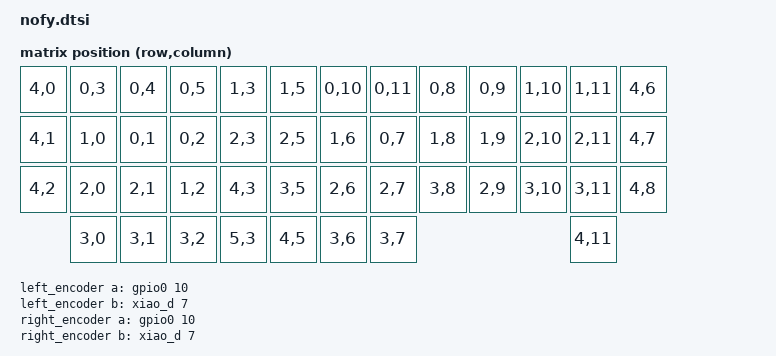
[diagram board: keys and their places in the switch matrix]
#include <dt-bindings/zmk/matrix_transform.h>
#include <physical_layouts.dtsi>

/ {
    kscan0: kscan {
		compatible = "zmk,kscan-gpio-charlieplex";
	};

	default_transform: keymap_transform_0 {
		compatible = "zmk,matrix-transform";
		columns = <12>;
		rows = <6>;

		map = <
		RC(4,0)   RC(0,3)   RC(0,4)   RC(0,5)   RC(1,3)   RC(1,5)       RC(0,10)  RC(0,11)  RC(0,8)   RC(0,9)   RC(1,10)  RC(1,11)  RC(4,6)
		RC(4,1)   RC(1,0)   RC(0,1)   RC(0,2)   RC(2,3)   RC(2,5)       RC(1,6)   RC(0,7)   RC(1,8)   RC(1,9)   RC(2,10)  RC(2,11)  RC(4,7)
		RC(4,2)   RC(2,0)   RC(2,1)   RC(1,2)   RC(4,3)   RC(3,5)       RC(2,6)   RC(2,7)   RC(3,8)   RC(2,9)   RC(3,10)  RC(3,11)  RC(4,8)
		          RC(3,0)   RC(3,1)   RC(3,2)   RC(5,3)   RC(4,5)       RC(3,6)   RC(3,7)                                 RC(4,11)
		>;
	};

    left_encoder: encoder_left {
        compatible = "alps,ec11";
        a-gpios = <&gpio0 10 (GPIO_ACTIVE_HIGH | GPIO_PULL_UP)>;
        b-gpios = <&xiao_d 7 (GPIO_ACTIVE_HIGH | GPIO_PULL_UP)>;
        steps = <24>;
        status = "disabled";
    };

    right_encoder: encoder_right {
        compatible = "alps,ec11";
        a-gpios = <&gpio0 10 (GPIO_ACTIVE_HIGH | GPIO_PULL_UP)>;
        b-gpios = <&xiao_d 7 (GPIO_ACTIVE_HIGH | GPIO_PULL_UP)>;
        steps = <24>;
        status = "disabled";
    };

    sensors: sensors {
        compatible = "zmk,keymap-sensors";
        sensors = <&left_encoder>;
        triggers-per-rotation = <24>;
    };
};
